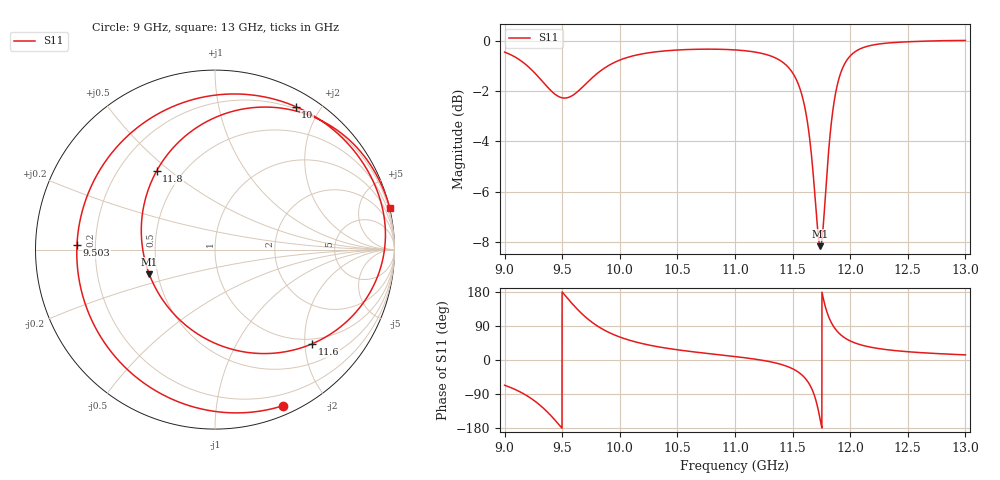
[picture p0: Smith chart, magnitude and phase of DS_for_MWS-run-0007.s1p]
! TOUCHSTONE file generated by CST DESIGN STUDIO
! Date and time: Tue Feb  4 13:43:01 2025
! Project name: C:\Work\MatlabApps\UnitCellOptimizationMatlab\CST\unitcell.cst
! Tree item: Tasks\Sweep1\SPara1\S-Parameters
! Header version: 2024
! Port assignment regex: !\s*Touchstone port\s*([0-9]+)\s*=\s*(CST MWS port|CST DES external port|CST DES block port)\s*(.+)\s* \(\"(.*)\"\)(\s*mode\s*([0-9]+))?.*
! Touchstone port assignment:
! Touchstone port 1 = CST DES external port 1 ("")
# GHz S MA R 50
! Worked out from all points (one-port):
!   4001 points, 9 GHz to 13 GHz, reference 50 ohm
!   lowest |S11| = -8.2 dB at 11.74 GHz (marker M1), VSWR 2.28, Z = 22.5 - j7.34 ohm
!   |S11| at or under -10 dB: nowhere
!   S11 on the Smith chart (normalised r, x): 9 GHz: 0.09, -1.52; 9.503 GHz: 0.13, +0.02; 10 GHz: 0.17, +1.70; 11.6 GHz: 0.89, -2.16; 11.8 GHz: 0.36, +0.45; 13 GHz: -0.02, +8.43
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9  0.9485 -66.6
9.16  0.9053 -88.3
9.277  0.855 -111.8
9.38  0.805 -139.9
9.5  0.7698 179.3
9.503  0.7696 178.2
9.62  0.7872 137.6
9.721  0.8272 108.6
9.837  0.8722 83.8
10  0.9147 60.6
10.212  0.9425 42.1
10.5  0.9577 26.9
11  0.9582 9.1
11.326  0.929 -5.9
11.5  0.8629 -23.1
11.597  0.7537 -44.2
11.678  0.5462 -84.2
11.709  0.4443 -114.1
11.741  0.3909 -159.3
11.769  0.4378 159.1
11.798  0.5453 126.7
11.834  0.6795 100.0
11.873  0.786 81.0
11.933  0.8807 62.7
12  0.9322 50.3
12.179  0.978 33.7
12.5  0.9944 21.8
13  1 13.5
